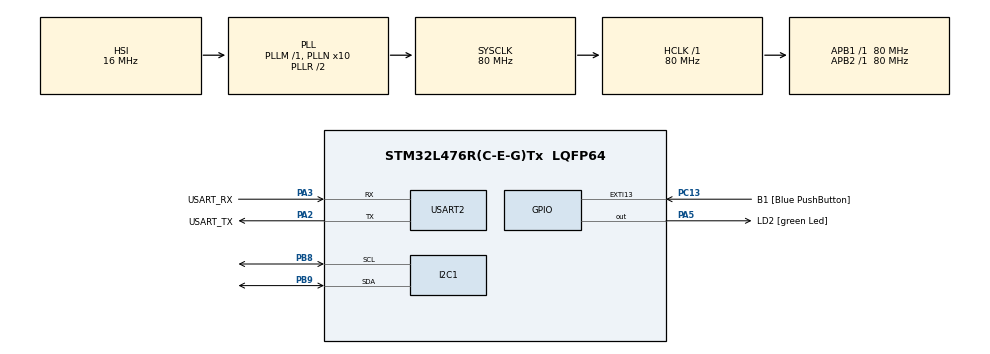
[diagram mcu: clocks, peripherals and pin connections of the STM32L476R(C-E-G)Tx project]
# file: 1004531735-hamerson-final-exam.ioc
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I2C1.Timing=0x10909CEC
Mcu.Family=STM32L4
Mcu.Name=STM32L476R(C-E-G)Tx
Mcu.Package=LQFP64
NVIC.PriorityGroup=NVIC_PRIORITYGROUP_4
PA13\ (JTMS-SWDIO).GPIO_Label=TMS
PA13\ (JTMS-SWDIO).Mode=Serial_Wire
PA13\ (JTMS-SWDIO).Signal=SYS_JTMS-SWDIO
PA14\ (JTCK-SWCLK).GPIO_Label=TCK
PA14\ (JTCK-SWCLK).Mode=Serial_Wire
PA14\ (JTCK-SWCLK).Signal=SYS_JTCK-SWCLK
PA2.GPIO_Label=USART_TX
PA2.GPIO_Mode=GPIO_MODE_AF_PP
PA2.GPIO_PuPd=GPIO_NOPULL
PA2.GPIO_Speed=GPIO_SPEED_FREQ_VERY_HIGH
PA2.Mode=Asynchronous
PA2.Signal=USART2_TX
PA3.GPIO_Label=USART_RX
PA3.GPIO_Mode=GPIO_MODE_AF_PP
PA3.GPIO_PuPd=GPIO_NOPULL
PA3.GPIO_Speed=GPIO_SPEED_FREQ_VERY_HIGH
PA3.Mode=Asynchronous
PA3.Signal=USART2_RX
PA5.GPIO_Label=LD2 [green Led]
PA5.GPIO_ModeDefaultOutputPP=GPIO_MODE_OUTPUT_PP
PA5.GPIO_PuPd=GPIO_NOPULL
PA5.GPIO_Speed=GPIO_SPEED_FREQ_LOW
PA5.Signal=GPIO_Output
PB3\ (JTDO-TRACESWO).GPIO_Label=SWO
PB3\ (JTDO-TRACESWO).Signal=SYS_JTDO-SWO
PB8.Mode=I2C
PB8.Signal=I2C1_SCL
PB9.Mode=I2C
PB9.Signal=I2C1_SDA
PC13.GPIO_Label=B1 [Blue PushButton]
PC13.GPIO_ModeDefaultEXTI=GPIO_MODE_IT_FALLING
PC13.GPIO_PuPd=GPIO_NOPULL
PC13.Signal=GPXTI13
PC14-OSC32_IN\ (PC14).Mode=LSE-External-Oscillator
PC14-OSC32_IN\ (PC14).Signal=RCC_OSC32_IN
PC15-OSC32_OUT\ (PC15).Mode=LSE-External-Oscillator
PC15-OSC32_OUT\ (PC15).Signal=RCC_OSC32_OUT
PH0-OSC_IN\ (PH0).Signal=RCC_OSC_IN
PH1-OSC_OUT\ (PH1).Signal=RCC_OSC_OUT
ProjectManager.HeapSize=0x200
ProjectManager.StackSize=0x400
ProjectManager.TargetToolchain=STM32CubeIDE
RCC.ADCFreq_Value=64000000
RCC.AHBFreq_Value=80000000
RCC.APB1Freq_Value=80000000
RCC.APB1TimFreq_Value=80000000
RCC.APB2Freq_Value=80000000
RCC.APB2TimFreq_Value=80000000
RCC.CortexFreq_Value=80000000
RCC.HCLKFreq_Value=80000000
RCC.HSE_VALUE=8000000
RCC.HSI_VALUE=16000000
RCC.MSI_VALUE=4000000
RCC.PLLN=10
RCC.PLLSourceVirtual=RCC_PLLSOURCE_HSI
RCC.PREFETCH_ENABLE=1
RCC.SYSCLKFreq_VALUE=80000000
RCC.SYSCLKSource=RCC_SYSCLKSOURCE_PLLCLK
RCC.USBFreq_Value=64000000
RCC.VCOOutputFreq_Value=160000000
USART2.VirtualMode-Asynchronous=VM_ASYNC
board=NUCLEO-L476RG

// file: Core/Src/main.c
/* USER CODE BEGIN Header */
/**
  ******************************************************************************
  * @file           : main.c
  * @brief          : Main program body
  ******************************************************************************
  * @attention
  *
  * Copyright (c) 2023 STMicroelectronics.
  * All rights reserved.
  *
  * This software is licensed under terms that can be found in the LICENSE file
  * in the root directory of this software component.
  * If no LICENSE file comes with this software, it is provided AS-IS.
  *
  ******************************************************************************
  */
/* USER CODE END Header */
#include "main.h"
#include "ring_buffer.h"
#include "ssd1306.h"

/* USER CODE BEGIN Includes */
#define MAX_PASSWORD 10
#include <stdio.h>
#include <string.h>
#include "ring_buffer.h"
#include "ssd1306_conf.h"
#include "ssd1306.h"
#include "ssd1306_fonts.h"
/* USER CODE END Includes */

I2C_HandleTypeDef hi2c1;

UART_HandleTypeDef huart2;

/* USER CODE BEGIN PV */
uint8_t password[MAX_PASSWORD] = "1004531735";
uint8_t ssd1306_buffer[MAX_PASSWORD];
ring_buffer_t ssd1306;
ring_buffer_t ring_buffer_uart_rx;
uint8_t rx_buffer[16];
uint8_t rx_data;
/* USER CODE END PV */

void SystemClock_Config(void);
static void MX_GPIO_Init(void);
static void MX_USART2_UART_Init(void);
static void MX_I2C1_Init(void);

int main(void)
{

  /* MCU Configuration--------------------------------------------------------*/

  /* Reset of all peripherals, Initializes the Flash interface and the Systick. */
  HAL_Init();

  /* Configure the system clock */
  SystemClock_Config();

  /* Initialize all configured peripherals */
  MX_GPIO_Init();
  MX_USART2_UART_Init();
  MX_I2C1_Init();
  // Inicializar la pantalla
   ssd1306_Init();
   // Poner toda la pantalla en negro
   ssd1306_Fill(Black);

   // establecer el cursor en las coordenas (20,20) || La pantalla es de (100x100)
   ssd1306_SetCursor(20, 20);

   /* USER CODE BEGIN 2 */

   ring_buffer_init(&ring_buffer_uart_rx, rx_buffer, 16);

     HAL_UART_Receive_IT(&huart2, &rx_data, 1);
     ssd1306_Init();
     ssd1306_Fill(Black);
     ssd1306_SetCursor(20, 20);
     ssd1306_WriteString("waiting", Font_7x10, White);
     ssd1306_UpdateScreen();
  /* USER CODE BEGIN 2 */

  /* USER CODE END 2 */

  /* Infinite loop */
  /* USER CODE BEGIN WHILE */
  while (1)
  {
	  if (password == 1004531735) {
		  ssd1306_WriteString("Success", Font_7x10, White);
          HAL_Delay(100);
	  	} else {
	  		ssd1306_WriteString("failed", Font_7x10, White);
	  		return 0;
	  	  HAL_Delay(100);
	  	}
    /* USER CODE END WHILE */

  }
}

void SystemClock_Config(void)
{
  RCC_OscInitTypeDef RCC_OscInitStruct = {0};
  RCC_ClkInitTypeDef RCC_ClkInitStruct = {0};

  /** Configure the main internal regulator output voltage
  */
  if (HAL_PWREx_ControlVoltageScaling(PWR_REGULATOR_VOLTAGE_SCALE1) != HAL_OK)
  {
    Error_Handler();
  }

  /** Initializes the RCC Oscillators according to the specified parameters
  * in the RCC_OscInitTypeDef structure.
  */
  RCC_OscInitStruct.OscillatorType = RCC_OSCILLATORTYPE_HSI;
  RCC_OscInitStruct.HSIState = RCC_HSI_ON;
  RCC_OscInitStruct.HSICalibrationValue = RCC_HSICALIBRATION_DEFAULT;
  RCC_OscInitStruct.PLL.PLLState = RCC_PLL_ON;
  RCC_OscInitStruct.PLL.PLLSource = RCC_PLLSOURCE_HSI;
  RCC_OscInitStruct.PLL.PLLM = 1;
  RCC_OscInitStruct.PLL.PLLN = 10;
  RCC_OscInitStruct.PLL.PLLP = RCC_PLLP_DIV7;
  RCC_OscInitStruct.PLL.PLLQ = RCC_PLLQ_DIV2;
  RCC_OscInitStruct.PLL.PLLR = RCC_PLLR_DIV2;
  if (HAL_RCC_OscConfig(&RCC_OscInitStruct) != HAL_OK)
  {
    Error_Handler();
  }

  /** Initializes the CPU, AHB and APB buses clocks
  */
  RCC_ClkInitStruct.ClockType = RCC_CLOCKTYPE_HCLK|RCC_CLOCKTYPE_SYSCLK
                              |RCC_CLOCKTYPE_PCLK1|RCC_CLOCKTYPE_PCLK2;
  RCC_ClkInitStruct.SYSCLKSource = RCC_SYSCLKSOURCE_PLLCLK;
  RCC_ClkInitStruct.AHBCLKDivider = RCC_SYSCLK_DIV1;
  RCC_ClkInitStruct.APB1CLKDivider = RCC_HCLK_DIV1;
  RCC_ClkInitStruct.APB2CLKDivider = RCC_HCLK_DIV1;

  if (HAL_RCC_ClockConfig(&RCC_ClkInitStruct, FLASH_LATENCY_4) != HAL_OK)
  {
    Error_Handler();
  }
}

static void MX_I2C1_Init(void)
{

  hi2c1.Instance = I2C1;
  hi2c1.Init.Timing = 0x10909CEC;
  hi2c1.Init.OwnAddress1 = 0;
  hi2c1.Init.AddressingMode = I2C_ADDRESSINGMODE_7BIT;
  hi2c1.Init.DualAddressMode = I2C_DUALADDRESS_DISABLE;
  hi2c1.Init.OwnAddress2 = 0;
  hi2c1.Init.OwnAddress2Masks = I2C_OA2_NOMASK;
  hi2c1.Init.GeneralCallMode = I2C_GENERALCALL_DISABLE;
  hi2c1.Init.NoStretchMode = I2C_NOSTRETCH_DISABLE;
  if (HAL_I2C_Init(&hi2c1) != HAL_OK)
  {
    Error_Handler();
  }

  /** Configure Analogue filter
  */
  if (HAL_I2CEx_ConfigAnalogFilter(&hi2c1, I2C_ANALOGFILTER_ENABLE) != HAL_OK)
  {
    Error_Handler();
  }

  /** Configure Digital filter
  */
  if (HAL_I2CEx_ConfigDigitalFilter(&hi2c1, 0) != HAL_OK)
  {
    Error_Handler();
  }

}

static void MX_USART2_UART_Init(void)
{

  huart2.Instance = USART2;
  huart2.Init.BaudRate = 115200;
  huart2.Init.WordLength = UART_WORDLENGTH_8B;
  huart2.Init.StopBits = UART_STOPBITS_1;
  huart2.Init.Parity = UART_PARITY_NONE;
  huart2.Init.Mode = UART_MODE_TX_RX;
  huart2.Init.HwFlowCtl = UART_HWCONTROL_NONE;
  huart2.Init.OverSampling = UART_OVERSAMPLING_16;
  huart2.Init.OneBitSampling = UART_ONE_BIT_SAMPLE_DISABLE;
  huart2.AdvancedInit.AdvFeatureInit = UART_ADVFEATURE_NO_INIT;
  if (HAL_UART_Init(&huart2) != HAL_OK)
  {
    Error_Handler();
  }

}

static void MX_GPIO_Init(void)
{
  GPIO_InitTypeDef GPIO_InitStruct = {0};

  /* GPIO Ports Clock Enable */
  __HAL_RCC_GPIOC_CLK_ENABLE();
  __HAL_RCC_GPIOH_CLK_ENABLE();
  __HAL_RCC_GPIOA_CLK_ENABLE();
  __HAL_RCC_GPIOB_CLK_ENABLE();

  /*Configure GPIO pin Output Level */
  HAL_GPIO_WritePin(LD2_GPIO_Port, LD2_Pin, GPIO_PIN_RESET);

  /*Configure GPIO pin : B1_Pin */
  GPIO_InitStruct.Pin = B1_Pin;
  GPIO_InitStruct.Mode = GPIO_MODE_IT_FALLING;
  GPIO_InitStruct.Pull = GPIO_NOPULL;
  HAL_GPIO_Init(B1_GPIO_Port, &GPIO_InitStruct);

  /*Configure GPIO pin : LD2_Pin */
  GPIO_InitStruct.Pin = LD2_Pin;
  GPIO_InitStruct.Mode = GPIO_MODE_OUTPUT_PP;
  GPIO_InitStruct.Pull = GPIO_NOPULL;
  GPIO_InitStruct.Speed = GPIO_SPEED_FREQ_LOW;
  HAL_GPIO_Init(LD2_GPIO_Port, &GPIO_InitStruct);

}

void Error_Handler(void)
{
  __disable_irq();
  while (1)
  {
  }
}
